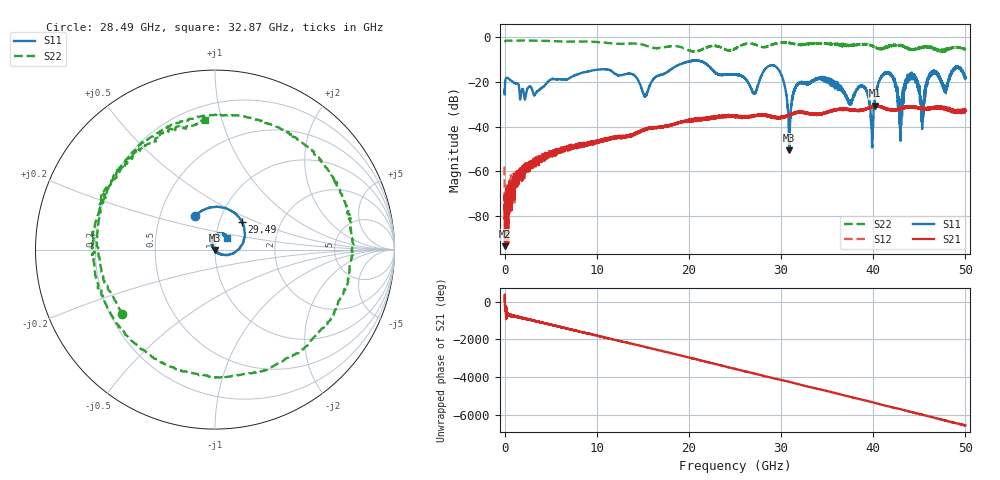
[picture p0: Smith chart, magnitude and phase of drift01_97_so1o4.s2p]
!Created with skrf (http://scikit-rf.org).
# Hz S RI R 50.0
!freq ReS11 ImS11 ReS21 ImS21 ReS12 ImS12 ReS22 ImS22
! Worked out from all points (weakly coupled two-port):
!   10001 points, 300 kHz to 50 GHz, reference 50 ohm
!   highest |S21| = -30.66 dB at 40.21 GHz (marker M1); lowest = -93.7 dB at 60.3 MHz (marker M2)
!   lowest |S11| = -50.7 dB at 30.9 GHz (marker M3), VSWR 1.01, Z = 49.9 - j0.278 ohm
!   |S11| at or under -10 dB: start of sweep to end of sweep
!   |S22| runs from -6.5 to -1.4 dB; largest |S21 - S12| = 0.0039
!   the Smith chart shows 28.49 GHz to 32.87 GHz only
!   S11 on the Smith chart (normalised r, x): 28.49 GHz: 0.75, +0.29; 29.49 GHz: 1.28, +0.41; 32.87 GHz: 1.13, +0.15
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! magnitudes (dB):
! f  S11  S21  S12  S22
! 300 kHz  -23.4  -72.8  -58.0  -2.1
! 60.3 MHz  -20.0  -93.7  -74.0  -1.6
! 2.38 GHz  -24.3  -57.1  -58.9  -1.4
! 8.335 GHz  -15.9  -48.3  -48.5  -1.8
! 15.23 GHz  -26.4  -40.9  -41.4  -3.6
! 16.67 GHz  -17.1  -40.4  -40.3  -4.8
! 25 GHz  -16.7  -35.7  -35.4  -5.1
! 27.1 GHz  -25.3  -34.9  -35.1  -3.1
! 28.49 GHz  -13.3  -34.9  -35.0  -4.0
! 29.49 GHz  -13.3  -35.8  -35.8  -2.7
! 30.9 GHz  -50.7  -34.8  -34.9  -2.5
! 32.87 GHz  -20.7  -33.9  -34.0  -2.8
! 33.34 GHz  -19.6  -34.5  -34.3  -2.7
! 38.92 GHz  -22.1  -32.4  -32.6  -3.0
! 39.86 GHz  -47.0  -31.4  -31.2  -3.7
! 40.21 GHz  -26.8  -30.7  -31.0  -4.5
! 41.67 GHz  -16.1  -32.3  -32.4  -4.2
! 42.92 GHz  -33.3  -32.2  -32.0  -3.6
! 43.96 GHz  -17.1  -31.2  -31.2  -5.1
! 45.31 GHz  -41.1  -32.0  -31.9  -4.5
! 46.42 GHz  -15.5  -31.9  -32.0  -4.6
! 50 GHz  -17.9  -32.6  -32.4  -5.3
